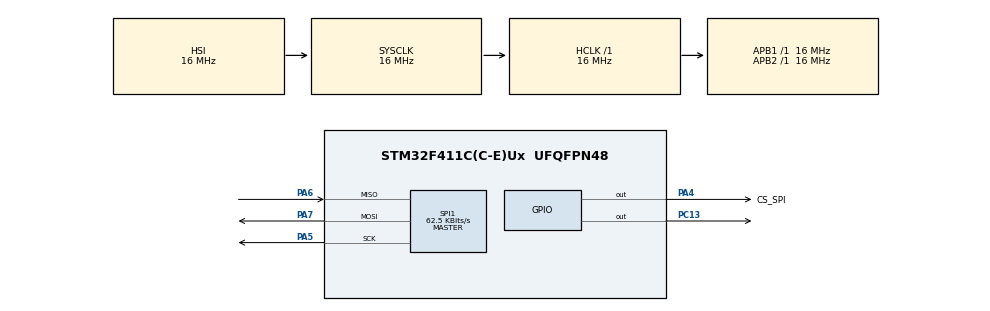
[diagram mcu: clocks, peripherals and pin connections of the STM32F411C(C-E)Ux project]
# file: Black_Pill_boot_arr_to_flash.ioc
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Mcu.Family=STM32F4
Mcu.Name=STM32F411C(C-E)Ux
Mcu.Package=UFQFPN48
NVIC.PriorityGroup=NVIC_PRIORITYGROUP_4
PA13.Mode=Trace_Asynchronous_SW
PA13.Signal=SYS_JTMS-SWDIO
PA14.Mode=Trace_Asynchronous_SW
PA14.Signal=SYS_JTCK-SWCLK
PA4.GPIO_Label=CS_SPI
PA4.GPIO_Speed=GPIO_SPEED_FREQ_MEDIUM
PA4.PinState=GPIO_PIN_SET
PA4.Signal=GPIO_Output
PA5.Mode=Full_Duplex_Master
PA5.Signal=SPI1_SCK
PA6.Mode=Full_Duplex_Master
PA6.Signal=SPI1_MISO
PA7.Mode=Full_Duplex_Master
PA7.Signal=SPI1_MOSI
PB3.Mode=Trace_Asynchronous_SW
PB3.Signal=SYS_JTDO-SWO
PC13-ANTI_TAMP.Signal=GPIO_Output
ProjectManager.HeapSize=0x200
ProjectManager.StackSize=0x400
ProjectManager.TargetToolchain=STM32CubeIDE
RCC.AHBFreq_Value=16000000
RCC.APB1Freq_Value=16000000
RCC.APB2Freq_Value=16000000
RCC.CortexFreq_Value=16000000
RCC.HSE_VALUE=25000000
RCC.HSI_VALUE=16000000
RCC.LSE_VALUE=32768
RCC.SYSCLKFreq_VALUE=16000000
RCC.VCOOutputFreq_Value=192000000
SPI1.BaudRatePrescaler=SPI_BAUDRATEPRESCALER_256
SPI1.CalculateBaudRate=62.5 KBits/s
SPI1.Direction=SPI_DIRECTION_2LINES
SPI1.Mode=SPI_MODE_MASTER
SPI1.VirtualType=VM_MASTER
board=custom

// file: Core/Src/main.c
/* USER CODE BEGIN Header */
/**
  ******************************************************************************
  * @file           : main.c
  * @brief          : Main program body
  ******************************************************************************
  * @attention
  *
  * Copyright (c) 2024 STMicroelectronics.
  * All rights reserved.
  *
  * This software is licensed under terms that can be found in the LICENSE file
  * in the root directory of this software component.
  * If no LICENSE file comes with this software, it is provided AS-IS.
  *
  ******************************************************************************
  */
/* USER CODE END Header */
#include "main.h"

/* USER CODE BEGIN Includes */
#include <stdio.h>
#include <inttypes.h>
#include <string.h>
#include "stdbool.h"
#include "Black_Pill_Blinker_.h"

#define APP_START_ADDRESS 0x0800C000
/* USER CODE END Includes */

/* USER CODE BEGIN PM */
uint32_t FLASH_START_ADDRESS = 0x000100;

uint32_t bytes_to_programm = 0;

uint8_t Write_Enable_cmd = 0x06;
uint8_t RX_Data_1 = 0;
uint8_t RX_Data_256 [256] = {0};
uint8_t TX_Data_256 [256] = {0};
uint8_t Sector_Erase_cmd = 0x20;
uint8_t Dummy_Byte = 0x00;
uint8_t Read_Status_Register_cmd = 0x05;
uint8_t Page_Program = 0x02;
uint8_t Read_Data_cmd = 0x03;
uint8_t TX_Sector_Erase [4];
uint8_t TX_Page_Program [4];
uint8_t TX_Read_Data [4];

uint32_t Bytes_written_counter = 0;
uint32_t Pages_printed_counter = 0;

/* USER CODE END PM */

SPI_HandleTypeDef hspi1;

/* USER CODE BEGIN PV */
extern const unsigned char my_arr[8712];
/* USER CODE END PV */

void SystemClock_Config(void);
static void MX_GPIO_Init(void);
static void MX_SPI1_Init(void);
/* USER CODE BEGIN PFP */

void WriteEnable (void);
void Sector_Erase (uint32_t sector);
void Write_Page (uint32_t addr);
//void Read_Page (uint32_t addr);
void Read_Data(uint32_t addr);
void Write_Firmware(const uint8_t * firmware, uint32_t flash_start_addr);
int Check_Ready_to_Write (void);
int Check_BUSY_bit (void);

/* USER CODE END PFP */

/* USER CODE BEGIN 0 */
int __io_putchar(int ch) {
	ITM_SendChar(ch);
	return ch;
}
/* USER CODE END 0 */

int main(void)
{

  /* MCU Configuration--------------------------------------------------------*/

  /* Reset of all peripherals, Initializes the Flash interface and the Systick. */
  HAL_Init();

  /* USER CODE BEGIN Init */
  bytes_to_programm = sizeof(my_arr);
  uint8_t sectors_to_erase = 0;

  if(bytes_to_programm % 0x1000) {							// делим на минимальный блок для очистки, т.е. сектор (4КБ)
	  sectors_to_erase = (bytes_to_programm / 0x1000) + 1;
  } else {
	  sectors_to_erase = bytes_to_programm / 0x1000;
  }
  printf("sectors_to_erase = %d, remainder of the division = %" PRId32 "  \n", sectors_to_erase, (bytes_to_programm % 0x1000));

  /* USER CODE END Init */

  /* Configure the system clock */
  SystemClock_Config();

  /* Initialize all configured peripherals */
  MX_GPIO_Init();
  MX_SPI1_Init();
  /* USER CODE BEGIN 2 */
  printf("LED begin\n");														// Начинаем шить флеш, включаем диод
  HAL_GPIO_WritePin(GPIOC, GPIO_PIN_13, GPIO_PIN_RESET);

  for(int i = 0; i < sectors_to_erase; i++) {									// Стираем нужные сектора (4КБ), проверяя бизи бит
	WriteEnable();																// Включаем запись флеш и проверяем
	if(Check_Ready_to_Write()) printf("WEN OK \n");
	else printf("WEN NOK \n");

	printf("Erase sector %d \n", i);
    Sector_Erase(i);
    while(Check_BUSY_bit()){
	  printf("BUSY \n");
	  HAL_Delay(50);
    }
  }

  WriteEnable();																// Включаем запись флеш и проверяем
  if(Check_Ready_to_Write()) printf("WEN OK \n");
  else printf("WEN NOK \n");

  Write_Firmware(my_arr, 0);													// Шьем прошивку во флеш

  for(int i = 0; i < 2; i++){
  Pages_printed_counter = 0;
  uint32_t errors_counter = 0;
  for (uint32_t i = 0; i < bytes_to_programm; i += 0x100) {						// Читаем и выводим постранично
	Read_Data(i);

	printf("Page: %" PRId32 " \n", Pages_printed_counter);						// Выводим в 16м формате по странице
	for(int x = 0; x < 16; x++){
  	  for(int i = 0; i < 16; i++){				 								// Квадратом 16 на 16
  		printf("0x%02X ", RX_Data_256[i + x*16]);
  	  }
  	  printf("\n");
  	  //HAL_Delay(100);
  	}
  	printf("\n");

  	if(i + 0x100 < bytes_to_programm) {											// Если выводим полную страницу - сохраняем в буфер 256 байт
  	  for(uint32_t x = 0; x < 256; x++){
  	    TX_Data_256[x] = my_arr[i + x]; 										// TX_Data_256 используем как проверочный буфер, один хрен он больше не нужен
  	  }
  	} else {																	// Если выводим не полную (последнюю) страницу
  		for(uint32_t x = 0; x < bytes_to_programm - i; x++){					// TX_Data_256 используем как проверочный буфер, один хрен он больше не нужен
  		  TX_Data_256[x] = my_arr[i + x];
  		}
  		for(uint32_t x = (bytes_to_programm - i); x < 256; x++){				// Остальное забиваем единицами
  		  TX_Data_256[x] = 0xFF;
  		}
  	}

  	if(memcmp(TX_Data_256, RX_Data_256, (sizeof(uint8_t)*256))) {				// Проверка на совпадение
  		printf("NOT equal \n");
  		errors_counter++;

  		for(int x = 0; x < 16; x++){											// Если не совпало, выводим что не совпало
  	  		for(int i = 0; i < 16; i++){
  	  			printf("0x%02X ", TX_Data_256[i + x*16]);						// Выводим в 16м формате
  	  		}
  	  		printf("\n");
  	  		//HAL_Delay(100);
  	  	}
  	  	printf("\n");
  	} else {
  		printf("Page is OK \n");
  	}
  	printf("\n");

  	Pages_printed_counter++;
  }

  printf("Errors: %" PRId32 " \n", errors_counter);
  printf("\n");
  }

  HAL_GPIO_WritePin(GPIOC, GPIO_PIN_13, GPIO_PIN_SET);
  //HAL_Delay(500);
  printf("LED end\n");

//  for(uint8_t i = 0; i < 16; i++) {
//	  printf("0x%X ", my_arr[i]);
//  }
//  printf("\n");

  uint32_t appJumpAddress;
  appJumpAddress = * ((volatile uint32_t*)(APP_START_ADDRESS + 4));

  HAL_SPI_DeInit(&hspi1);
  HAL_RCC_DeInit();
  HAL_DeInit();

  void(*GoToApp)(void);
  GoToApp = (void (*)(void)) appJumpAddress;

  __disable_irq();
  __set_MSP(*((volatile uint32_t*)APP_START_ADDRESS));
  GoToApp();

  /* USER CODE END 2 */

  /* Infinite loop */
  while (1)
  {

    /* USER CODE BEGIN 3 */
	//printf("tick\n");
	//HAL_GPIO_TogglePin(GPIOC, GPIO_PIN_13);
	//HAL_Delay(1000);

  }
  /* USER CODE END 3 */
}

void SystemClock_Config(void)
{
  RCC_OscInitTypeDef RCC_OscInitStruct = {0};
  RCC_ClkInitTypeDef RCC_ClkInitStruct = {0};

  /** Configure the main internal regulator output voltage
  */
  __HAL_RCC_PWR_CLK_ENABLE();
  __HAL_PWR_VOLTAGESCALING_CONFIG(PWR_REGULATOR_VOLTAGE_SCALE1);

  /** Initializes the RCC Oscillators according to the specified parameters
  * in the RCC_OscInitTypeDef structure.
  */
  RCC_OscInitStruct.OscillatorType = RCC_OSCILLATORTYPE_HSI;
  RCC_OscInitStruct.HSIState = RCC_HSI_ON;
  RCC_OscInitStruct.HSICalibrationValue = RCC_HSICALIBRATION_DEFAULT;
  RCC_OscInitStruct.PLL.PLLState = RCC_PLL_NONE;
  if (HAL_RCC_OscConfig(&RCC_OscInitStruct) != HAL_OK)
  {
    Error_Handler();
  }

  /** Initializes the CPU, AHB and APB buses clocks
  */
  RCC_ClkInitStruct.ClockType = RCC_CLOCKTYPE_HCLK|RCC_CLOCKTYPE_SYSCLK
                              |RCC_CLOCKTYPE_PCLK1|RCC_CLOCKTYPE_PCLK2;
  RCC_ClkInitStruct.SYSCLKSource = RCC_SYSCLKSOURCE_HSI;
  RCC_ClkInitStruct.AHBCLKDivider = RCC_SYSCLK_DIV1;
  RCC_ClkInitStruct.APB1CLKDivider = RCC_HCLK_DIV1;
  RCC_ClkInitStruct.APB2CLKDivider = RCC_HCLK_DIV1;

  if (HAL_RCC_ClockConfig(&RCC_ClkInitStruct, FLASH_LATENCY_0) != HAL_OK)
  {
    Error_Handler();
  }
}

static void MX_SPI1_Init(void)
{

  /* SPI1 parameter configuration*/
  hspi1.Instance = SPI1;
  hspi1.Init.Mode = SPI_MODE_MASTER;
  hspi1.Init.Direction = SPI_DIRECTION_2LINES;
  hspi1.Init.DataSize = SPI_DATASIZE_8BIT;
  hspi1.Init.CLKPolarity = SPI_POLARITY_LOW;
  hspi1.Init.CLKPhase = SPI_PHASE_1EDGE;
  hspi1.Init.NSS = SPI_NSS_SOFT;
  hspi1.Init.BaudRatePrescaler = SPI_BAUDRATEPRESCALER_256;
  hspi1.Init.FirstBit = SPI_FIRSTBIT_MSB;
  hspi1.Init.TIMode = SPI_TIMODE_DISABLE;
  hspi1.Init.CRCCalculation = SPI_CRCCALCULATION_DISABLE;
  hspi1.Init.CRCPolynomial = 10;
  if (HAL_SPI_Init(&hspi1) != HAL_OK)
  {
    Error_Handler();
  }

}

static void MX_GPIO_Init(void)
{
  GPIO_InitTypeDef GPIO_InitStruct = {0};

  /* GPIO Ports Clock Enable */
  __HAL_RCC_GPIOC_CLK_ENABLE();
  __HAL_RCC_GPIOA_CLK_ENABLE();
  __HAL_RCC_GPIOB_CLK_ENABLE();

  /*Configure GPIO pin Output Level */
  HAL_GPIO_WritePin(GPIOC, GPIO_PIN_13, GPIO_PIN_RESET);

  /*Configure GPIO pin Output Level */
  HAL_GPIO_WritePin(CS_SPI_GPIO_Port, CS_SPI_Pin, GPIO_PIN_SET);

  /*Configure GPIO pin : PC13 */
  GPIO_InitStruct.Pin = GPIO_PIN_13;
  GPIO_InitStruct.Mode = GPIO_MODE_OUTPUT_PP;
  GPIO_InitStruct.Pull = GPIO_NOPULL;
  GPIO_InitStruct.Speed = GPIO_SPEED_FREQ_LOW;
  HAL_GPIO_Init(GPIOC, &GPIO_InitStruct);

  /*Configure GPIO pin : CS_SPI_Pin */
  GPIO_InitStruct.Pin = CS_SPI_Pin;
  GPIO_InitStruct.Mode = GPIO_MODE_OUTPUT_PP;
  GPIO_InitStruct.Pull = GPIO_NOPULL;
  GPIO_InitStruct.Speed = GPIO_SPEED_FREQ_MEDIUM;
  HAL_GPIO_Init(CS_SPI_GPIO_Port, &GPIO_InitStruct);

}

/* USER CODE BEGIN 4 */

void WriteEnable (void){
	HAL_GPIO_WritePin(CS_SPI_GPIO_Port, CS_SPI_Pin, GPIO_PIN_RESET);						// write enable
	HAL_SPI_Transmit(&hspi1, &Write_Enable_cmd, sizeof(Write_Enable_cmd), 1000);
	HAL_GPIO_WritePin(CS_SPI_GPIO_Port, CS_SPI_Pin, GPIO_PIN_SET);
	//HAL_Delay(50);
}

int Check_Ready_to_Write (void){
	HAL_GPIO_WritePin(CS_SPI_GPIO_Port, CS_SPI_Pin, GPIO_PIN_RESET);						// read status register
	HAL_SPI_Transmit(&hspi1, &Read_Status_Register_cmd, sizeof(Read_Status_Register_cmd), 1000);
	HAL_SPI_Receive(&hspi1, &RX_Data_1, sizeof(RX_Data_1), 1000);
	HAL_GPIO_WritePin(CS_SPI_GPIO_Port, CS_SPI_Pin, GPIO_PIN_SET);
	//HAL_Delay(50);

	return ((RX_Data_1 >> 1) & 1);
}

void Sector_Erase (uint32_t sector){
	uint32_t sector_addr = sector * 0x1000;
	TX_Sector_Erase[0] = Sector_Erase_cmd;
	TX_Sector_Erase[1] = (uint8_t)(sector_addr >> 16) & 0xFF;
	TX_Sector_Erase[2] = (uint8_t)(sector_addr >> 8) & 0xFF;
	TX_Sector_Erase[3] = (uint8_t)(sector_addr & 0xFF);

	HAL_GPIO_WritePin(CS_SPI_GPIO_Port, CS_SPI_Pin, GPIO_PIN_RESET);						// sector erase
	HAL_SPI_Transmit(&hspi1, TX_Sector_Erase, sizeof(TX_Sector_Erase), 1000);
	HAL_GPIO_WritePin(CS_SPI_GPIO_Port, CS_SPI_Pin, GPIO_PIN_SET);
	//HAL_Delay(50);
}

int Check_BUSY_bit (void){
	HAL_GPIO_WritePin(CS_SPI_GPIO_Port, CS_SPI_Pin, GPIO_PIN_RESET);						// read status register
	HAL_SPI_Transmit(&hspi1, &Read_Status_Register_cmd, sizeof(Read_Status_Register_cmd), 1000);
	HAL_SPI_Receive(&hspi1, &RX_Data_1, sizeof(RX_Data_1), 1000);
	HAL_GPIO_WritePin(CS_SPI_GPIO_Port, CS_SPI_Pin, GPIO_PIN_SET);
	//HAL_Delay(50);

	return (RX_Data_1 & 1);
}

void Write_Page(uint32_t addr){
	TX_Page_Program [0] = Page_Program;
	TX_Page_Program [1] = (uint8_t)(addr >> 16) & 0xFF;
	TX_Page_Program [2] = (uint8_t)(addr >> 8) & 0xFF;
	TX_Page_Program [3] = (uint8_t)(addr & 0xFF);

	HAL_GPIO_WritePin(CS_SPI_GPIO_Port, CS_SPI_Pin, GPIO_PIN_RESET);						// write first page
	HAL_SPI_Transmit(&hspi1, TX_Page_Program, sizeof(TX_Page_Program), 1000);
	HAL_SPI_Transmit(&hspi1, (uint8_t *)&my_arr[0], 256, 2000);
	HAL_GPIO_WritePin(CS_SPI_GPIO_Port, CS_SPI_Pin, GPIO_PIN_SET);
	//HAL_Delay(50);
}

void Read_Data(uint32_t addr){
	TX_Read_Data [0] = Read_Data_cmd;
	TX_Read_Data [1] = (uint8_t)(addr >> 16) & 0xFF;
	TX_Read_Data [2] = (uint8_t)(addr >> 8) & 0xFF;
	TX_Read_Data [3] = (uint8_t)(addr & 0xFF);

	HAL_GPIO_WritePin(CS_SPI_GPIO_Port, CS_SPI_Pin, GPIO_PIN_RESET);						// read first page
	HAL_SPI_Transmit(&hspi1, TX_Read_Data, sizeof(TX_Read_Data), 1000);
	HAL_SPI_Receive(&hspi1, RX_Data_256, sizeof(RX_Data_256), 1000);
	HAL_GPIO_WritePin(CS_SPI_GPIO_Port, CS_SPI_Pin, GPIO_PIN_SET);
	//HAL_Delay(50);
}

void Write_Firmware(const uint8_t * firmware, uint32_t flash_start_addr) {
	uint32_t bytes_is_programmed = 0;
	uint8_t counter = 0;

	while(bytes_to_programm - bytes_is_programmed >= 0x100) {
	  TX_Page_Program [0] = Page_Program;
	  TX_Page_Program [1] = (uint8_t)(flash_start_addr >> 16) & 0xFF;
	  TX_Page_Program [2] = (uint8_t)(flash_start_addr >> 8) & 0xFF;
	  TX_Page_Program [3] = (uint8_t)(flash_start_addr & 0xFF);

	  counter = 0;
	  for(int i = bytes_is_programmed; i < (bytes_is_programmed + 256); i++) {
		TX_Data_256[counter] = firmware[i];
		counter++;
	  }

	  HAL_GPIO_WritePin(CS_SPI_GPIO_Port, CS_SPI_Pin, GPIO_PIN_RESET);
	  HAL_SPI_Transmit(&hspi1, TX_Page_Program, sizeof(TX_Page_Program), 1000);
	  //HAL_SPI_Transmit(&hspi1, firmware[bytes_is_programmed], 256, 2000);		// шьем страницу флеш с нужным смещением по массиву
	  HAL_SPI_Transmit(&hspi1, TX_Data_256, 256, 2000);
	  HAL_GPIO_WritePin(CS_SPI_GPIO_Port, CS_SPI_Pin, GPIO_PIN_SET);
	  //HAL_Delay(50);

	  while(Check_BUSY_bit()){
		//printf("BUSY \n");
	  }

	  bytes_is_programmed += 0x100;
	  flash_start_addr += 0x100;

	  if(bytes_to_programm - bytes_is_programmed >= 0x100) {
		  WriteEnable();																	// Включаем запись флеш и проверяем
		  //if(Check_Ready_to_Write()) printf("WEN OK \n");
		  //else printf("WEN NOK \n");
	  }
	}

	if(bytes_to_programm - bytes_is_programmed > 0) {
	  WriteEnable();																	// Включаем запись флеш и проверяем
	  if(Check_Ready_to_Write()) printf("WEN OK \n");
	  else printf("WEN NOK \n");

	  TX_Page_Program [0] = Page_Program;
	  TX_Page_Program [1] = (uint8_t)(flash_start_addr >> 16) & 0xFF;
	  TX_Page_Program [2] = (uint8_t)(flash_start_addr >> 8) & 0xFF;
	  TX_Page_Program [3] = (uint8_t)(flash_start_addr & 0xFF);

	  counter = 0;
	  for(uint32_t i = bytes_is_programmed; i < bytes_to_programm; i++) {				// Дописываем оставшиеся байты
		TX_Data_256[counter] = firmware[i];
		counter++;
	  }

	  for(int i = 0; i < (256 - (bytes_to_programm % 256)); i++) {						// Остальные байты страницы забиваем единицами
	  	TX_Data_256[counter] = 0xFF;
	  	counter++;
	  }

	  HAL_GPIO_WritePin(CS_SPI_GPIO_Port, CS_SPI_Pin, GPIO_PIN_RESET);
	  HAL_SPI_Transmit(&hspi1, TX_Page_Program, sizeof(TX_Page_Program), 1000);
	  //HAL_SPI_Transmit(&hspi1, (uint8_t *)&firmware[bytes_is_programmed], (bytes_to_programm - bytes_is_programmed), 2000);		// шьем страницу флеш с нужным смещением по массиву
	  HAL_SPI_Transmit(&hspi1, TX_Data_256, 256, 2000);
	  HAL_GPIO_WritePin(CS_SPI_GPIO_Port, CS_SPI_Pin, GPIO_PIN_SET);
	  //HAL_Delay(50);

	  while(Check_BUSY_bit()){
		printf("BUSY \n");
	  }
}
}

/* USER CODE END 4 */

void Error_Handler(void)
{
  __disable_irq();
  while (1)
  {
  }
}
